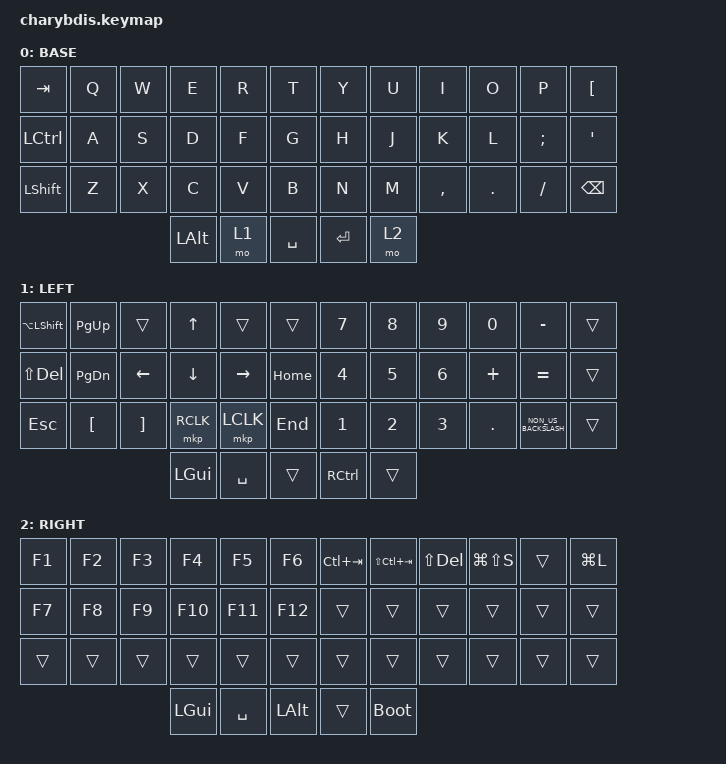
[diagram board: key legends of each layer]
#include <dt-bindings/zmk/mouse.h>
#include <behaviors.dtsi>
#include <dt-bindings/zmk/keys.h>
#include <dt-bindings/zmk/pointing.h>

/ {
    trackball_listener {
        compatible = "zmk,input-behavior-listener";
        device = <&vtrackball>;
        layers = <0 2 3 4 5>;
        evt-type = <INPUT_EV_REL>;
        x-input-code = <INPUT_REL_X>;
        y-input-code = <INPUT_REL_Y>;
        scale-multiplier = <1>;
        scale-divisor = <4>;
        bindings = <&ib_toggle_layer 5>;
    };

    trackball_snipe_listener {
        compatible = "zmk,input-behavior-listener";
        device = <&vtrackball>;
        layers = <>;
        evt-type = <INPUT_EV_REL>;
        x-input-code = <INPUT_REL_X>;
        y-input-code = <INPUT_REL_Y>;
        scale-multiplier = <1>;
        scale-divisor = <12>;
    };

    trackball_scroll_listener {
        compatible = "zmk,input-behavior-listener";
        device = <&vtrackball>;
        layers = <1>;
        evt-type = <INPUT_EV_REL>;
        x-input-code = <INPUT_REL_MISC>;
        y-input-code = <INPUT_REL_WHEEL>;
        y-invert;
        bindings = <&ib_wheel_scaler 1 16>;
    };

    ib_wheel_scaler: ib_wheel_scaler {
        compatible = "zmk,input-behavior-scaler";
        #binding-cells = <2>;
        evt-type = <INPUT_EV_REL>;
        input-code = <INPUT_REL_WHEEL>;
    };

    ib_toggle_layer: ib_toggle_layer {
        compatible = "zmk,input-behavior-tog-layer";
        #binding-cells = <1>;
        time-to-live-ms = <750>;
    };

    behaviors {
        lt: layer_tap {
            compatible = "zmk,behavior-hold-tap";
            #binding-cells = <2>;
            flavor = "balanced";
            tapping-term-ms = <240>;
            quick-tap-ms = <150>;
            bindings = <&mo>, <&kp>;
        };
    };

    keymap {
        compatible = "zmk,keymap";

        Base {
            label = "BASE";
            bindings = <
&kp TAB    &kp Q  &kp W  &kp E         &kp R  &kp T        &kp Y      &kp U  &kp I      &kp O    &kp P     &kp LEFT_BRACKET
&kp LCTRL  &kp A  &kp S  &kp D         &kp F  &kp G        &kp H      &kp J  &kp K      &kp L    &kp SEMI  &kp APOS
&kp LSHFT  &kp Z  &kp X  &kp C         &kp V  &kp B        &kp N      &kp M  &kp COMMA  &kp DOT  &kp FSLH  &kp BACKSPACE
                         &kp LEFT_ALT  &mo 1  &kp SPACE    &kp ENTER  &mo 2
            >;
        };

        Lower {
            label = "LEFT";
            bindings = <
&kp LA(LEFT_SHIFT)  &kp PAGE_UP       &trans             &kp UP_ARROW    &trans     &trans      &kp N7     &kp N8  &kp N9  &kp N0    &kp MINUS             &trans
&kp LS(DEL)         &kp PAGE_DOWN     &kp LEFT           &kp DOWN_ARROW  &kp RIGHT  &kp HOME    &kp N4     &kp N5  &kp N6  &kp PLUS  &kp EQUAL             &trans
&kp ESCAPE          &kp LEFT_BRACKET  &kp RIGHT_BRACKET  &mkp RCLK       &mkp LCLK  &kp END     &kp N1     &kp N2  &kp N3  &kp DOT   &kp NON_US_BACKSLASH  &trans
                                                         &kp LGUI        &kp SPACE  &trans      &kp RCTRL  &trans
            >;
        };

        Raise {
            label = "RIGHT";
            bindings = <
&kp F1  &kp F2  &kp F3  &kp F4    &kp F5     &kp F6          &kp LC(TAB)  &kp LS(LC(TAB))  &kp LS(DEL)  &kp LG(LS(S))  &trans  &kp LG(L)
&kp F7  &kp F8  &kp F9  &kp F10   &kp F11    &kp F12         &trans       &trans           &trans       &trans         &trans  &trans
&trans  &trans  &trans  &trans    &trans     &trans          &trans       &trans           &trans       &trans         &trans  &trans
                        &kp LGUI  &kp SPACE  &kp LEFT_ALT    &trans       &bootloader
            >;
        };
    };
};
